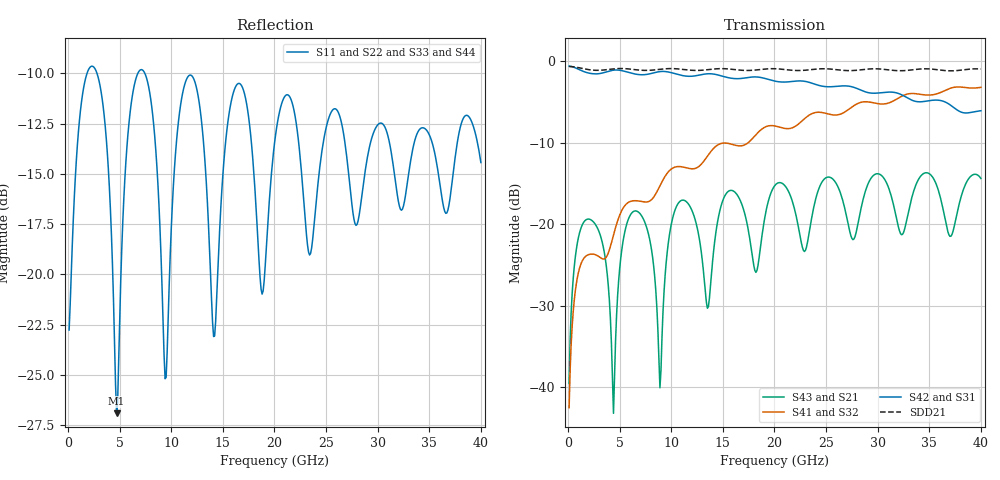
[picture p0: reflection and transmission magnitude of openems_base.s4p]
! T_ts6_diff_ms: Edge-coupled microstrip pair L1, w 0.127 / s 0.127 mm (ThunderScope default), 20 mm
! stackup: ThunderScope Rev5.3 6-layer (FR408HR / FR-4, from the board file)
! ports: 1 near A, 2 near B, 3 far A, 4 far B
! openEMS 0.37.0, staircase, base mesh (dfine 0.035 mm), 652064 cells
# Hz S RI R 50
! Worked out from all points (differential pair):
!   400 points, 100 MHz to 40 GHz, reference 50 ohm
!   strongest paths, dB at 100 MHz, 10.1 GHz, 20.1 GHz, 30.1 GHz, 40 GHz:
!     S42: -0.6, -1.5, -2.5, -3.9, -6.1
!     S31: -0.6, -1.5, -2.5, -3.9, -6.1
!     S41: -42.5, -13.1, -8.0, -5.2, -3.2
!     S32: -42.5, -13.1, -8.0, -5.2, -3.2
!     S43: -39.5, -19.4, -15.2, -13.8, -14.4
!     S21: -39.5, -19.4, -15.2, -13.8, -14.4
!   taken as a pair (ports 2,1 in; 4,3 out), SDD21 dB: -0.7, -0.9, -0.9, -1.0, -1.0
!   lowest |S11| = -26.9 dB at 4.7 GHz (marker M1), VSWR 1.09, Z = 54.7 - j0.0973 ohm
!   |S11| at or under -10 dB: start of sweep to 1.836 GHz; 2.801 GHz to 6.76 GHz (3.959 GHz wide, 82.8 % of centre); 7.436 GHz to end of sweep
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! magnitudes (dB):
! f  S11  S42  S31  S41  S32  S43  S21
! 100 MHz  -22.8  -0.6  -0.6  -42.5  -42.5  -39.5  -39.5
! 1.5 GHz  -10.7  -1.3  -1.3  -24.2  -24.2  -19.8  -19.8
! 4.7 GHz  -26.9  -1.1  -1.1  -20.0  -20.0  -31.1  -31.1
! 7 GHz  -9.8  -1.7  -1.7  -17.2  -17.2  -18.8  -18.8
! 8.9 GHz  -17.6  -1.3  -1.3  -15.3  -15.3  -40.1  -40.1
! 10.9 GHz  -11.6  -1.7  -1.7  -12.9  -12.9  -17.1  -17.1
! 40 GHz  -14.4  -6.1  -6.1  -3.2  -3.2  -14.4  -14.4
